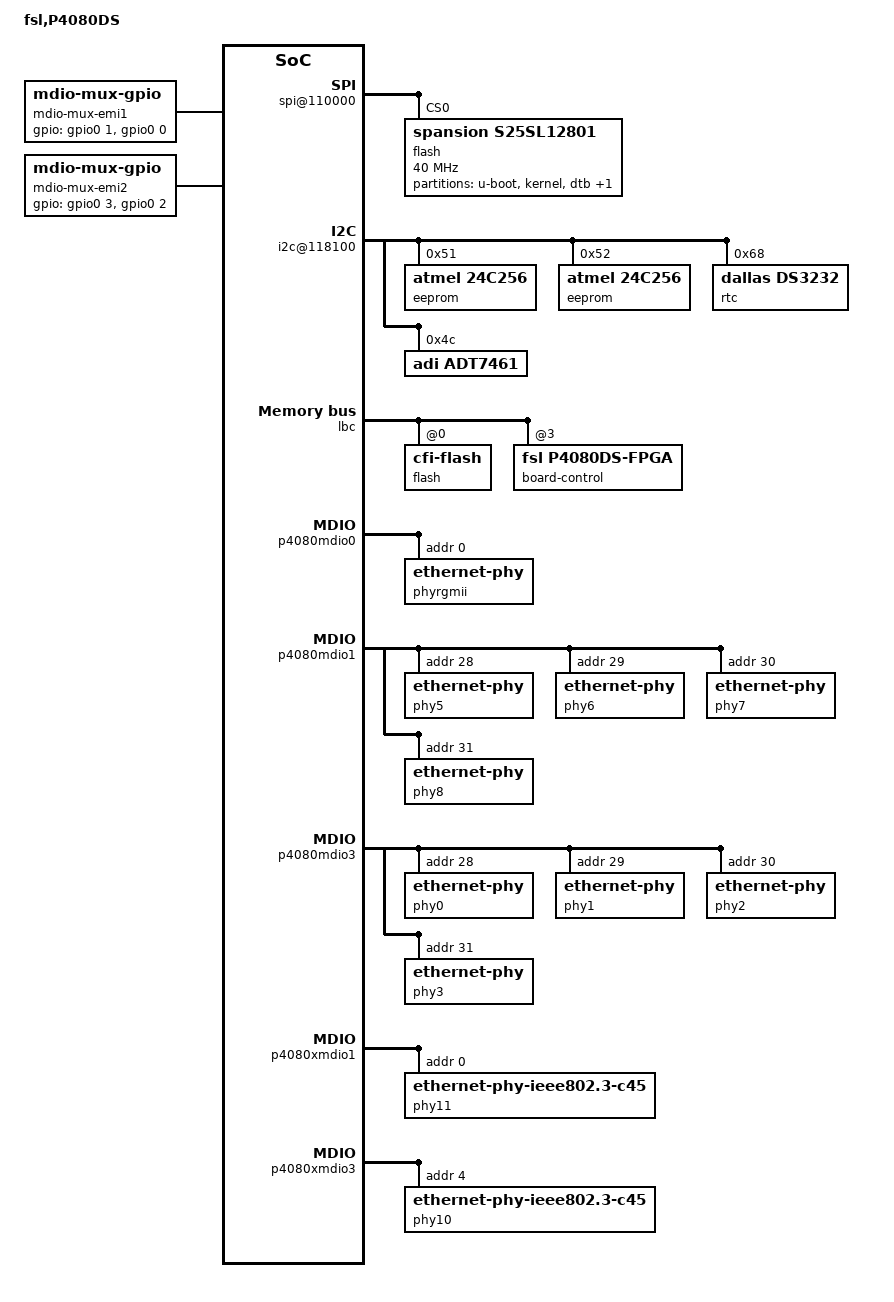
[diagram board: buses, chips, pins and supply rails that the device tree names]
/*
 * P4080DS Device Tree Source
 *
 * Copyright 2009 - 2015 Freescale Semiconductor Inc.
 *
 * Redistribution and use in source and binary forms, with or without
 * modification, are permitted provided that the following conditions are met:
 *     * Redistributions of source code must retain the above copyright
 *       notice, this list of conditions and the following disclaimer.
 *     * Redistributions in binary form must reproduce the above copyright
 *       notice, this list of conditions and the following disclaimer in the
 *       documentation and/or other materials provided with the distribution.
 *     * Neither the name of Freescale Semiconductor nor the
 *       names of its contributors may be used to endorse or promote products
 *       derived from this software without specific prior written permission.
 *
 *
 * ALTERNATIVELY, this software may be distributed under the terms of the
 * GNU General Public License ("GPL") as published by the Free Software
 * Foundation, either version 2 of that License or (at your option) any
 * later version.
 *
 * THIS SOFTWARE IS PROVIDED BY Freescale Semiconductor ``AS IS'' AND ANY
 * EXPRESS OR IMPLIED WARRANTIES, INCLUDING, BUT NOT LIMITED TO, THE IMPLIED
 * WARRANTIES OF MERCHANTABILITY AND FITNESS FOR A PARTICULAR PURPOSE ARE
 * DISCLAIMED. IN NO EVENT SHALL Freescale Semiconductor BE LIABLE FOR ANY
 * DIRECT, INDIRECT, INCIDENTAL, SPECIAL, EXEMPLARY, OR CONSEQUENTIAL DAMAGES
 * (INCLUDING, BUT NOT LIMITED TO, PROCUREMENT OF SUBSTITUTE GOODS OR SERVICES;
 * LOSS OF USE, DATA, OR PROFITS; OR BUSINESS INTERRUPTION) HOWEVER CAUSED AND
 * ON ANY THEORY OF LIABILITY, WHETHER IN CONTRACT, STRICT LIABILITY, OR TORT
 * (INCLUDING NEGLIGENCE OR OTHERWISE) ARISING IN ANY WAY OUT OF THE USE OF THIS
 * SOFTWARE, EVEN IF ADVISED OF THE POSSIBILITY OF SUCH DAMAGE.
 */

/include/ "p4080si-pre.dtsi"

/ {
	model = "fsl,P4080DS";
	compatible = "fsl,P4080DS";
	#address-cells = <2>;
	#size-cells = <2>;
	interrupt-parent = <&mpic>;

	aliases {
		phy_rgmii = &phyrgmii;
		phy5_slot3 = &phy5slot3;
		phy6_slot3 = &phy6slot3;
		phy7_slot3 = &phy7slot3;
		phy8_slot3 = &phy8slot3;
		emi1_slot3 = &p4080mdio2;
		emi1_slot4 = &p4080mdio1;
		emi1_slot5 = &p4080mdio3;
		emi1_rgmii = &p4080mdio0;
		emi2_slot4 = &p4080xmdio1;
		emi2_slot5 = &p4080xmdio3;
	};

	memory {
		device_type = "memory";
	};

	reserved-memory {
		#address-cells = <2>;
		#size-cells = <2>;
		ranges;

		bman_fbpr: bman-fbpr {
			size = <0 0x1000000>;
			alignment = <0 0x1000000>;
		};
		qman_fqd: qman-fqd {
			size = <0 0x400000>;
			alignment = <0 0x400000>;
		};
		qman_pfdr: qman-pfdr {
			size = <0 0x2000000>;
			alignment = <0 0x2000000>;
		};
	};

	dcsr: dcsr@f00000000 {
		ranges = <0x00000000 0xf 0x00000000 0x01008000>;
	};

	bportals: bman-portals@ff4000000 {
		ranges = <0x0 0xf 0xf4000000 0x200000>;
	};

	qportals: qman-portals@ff4200000 {
		ranges = <0x0 0xf 0xf4200000 0x200000>;
	};

	soc: soc@ffe000000 {
		ranges = <0x00000000 0xf 0xfe000000 0x1000000>;
		reg = <0xf 0xfe000000 0 0x00001000>;

		spi@110000 {
			flash@0 {
				#address-cells = <1>;
				#size-cells = <1>;
				compatible = "spansion,s25sl12801", "jedec,spi-nor";
				reg = <0>;
				spi-max-frequency = <40000000>; /* input clock */
				partition@u-boot {
					label = "u-boot";
					reg = <0x00000000 0x00100000>;
					read-only;
				};
				partition@kernel {
					label = "kernel";
					reg = <0x00100000 0x00500000>;
					read-only;
				};
				partition@dtb {
					label = "dtb";
					reg = <0x00600000 0x00100000>;
					read-only;
				};
				partition@fs {
					label = "file system";
					reg = <0x00700000 0x00900000>;
				};
			};
		};

		i2c@118100 {
			eeprom@51 {
				compatible = "atmel,24c256";
				reg = <0x51>;
			};
			eeprom@52 {
				compatible = "atmel,24c256";
				reg = <0x52>;
			};
			rtc@68 {
				compatible = "dallas,ds3232";
				reg = <0x68>;
				interrupts = <0x1 0x1 0 0>;
			};
			adt7461@4c {
				compatible = "adi,adt7461";
				reg = <0x4c>;
			};
		};

		usb0: usb@210000 {
			phy_type = "ulpi";
		};

		usb1: usb@211000 {
			dr_mode = "host";
			phy_type = "ulpi";
		};

		fman@400000 {
			ethernet@e0000 {
				phy-handle = <&phy0>;
				phy-connection-type = "sgmii";
			};

			ethernet@e2000 {
				phy-handle = <&phy1>;
				phy-connection-type = "sgmii";
			};

			ethernet@e4000 {
				phy-handle = <&phy2>;
				phy-connection-type = "sgmii";
			};

			ethernet@e6000 {
				phy-handle = <&phy3>;
				phy-connection-type = "sgmii";
			};

			ethernet@f0000 {
				phy-handle = <&phy10>;
				phy-connection-type = "xgmii";
			};
		};

		fman@500000 {
			ethernet@e0000 {
				phy-handle = <&phy5>;
				phy-connection-type = "sgmii";
			};

			ethernet@e2000 {
				phy-handle = <&phy6>;
				phy-connection-type = "sgmii";
			};

			ethernet@e4000 {
				phy-handle = <&phy7>;
				phy-connection-type = "sgmii";
			};

			ethernet@e6000 {
				phy-handle = <&phy8>;
				phy-connection-type = "sgmii";
			};

			ethernet@f0000 {
				phy-handle = <&phy11>;
				phy-connection-type = "xgmii";
			};
		};
	};

	rio: rapidio@ffe0c0000 {
		reg = <0xf 0xfe0c0000 0 0x11000>;

		port1 {
			ranges = <0 0 0xc 0x20000000 0 0x10000000>;
		};
		port2 {
			ranges = <0 0 0xc 0x30000000 0 0x10000000>;
		};
	};

	lbc: localbus@ffe124000 {
		reg = <0xf 0xfe124000 0 0x1000>;
		ranges = <0 0 0xf 0xe8000000 0x08000000
			  3 0 0xf 0xffdf0000 0x00008000>;

		flash@0,0 {
			compatible = "cfi-flash";
			reg = <0 0 0x08000000>;
			bank-width = <2>;
			device-width = <2>;
		};

		board-control@3,0 {
			compatible = "fsl,p4080ds-fpga", "fsl,fpga-ngpixis";
			reg = <3 0 0x30>;
		};
	};

	pci0: pcie@ffe200000 {
		reg = <0xf 0xfe200000 0 0x1000>;
		ranges = <0x02000000 0 0xe0000000 0xc 0x00000000 0x0 0x20000000
			  0x01000000 0 0x00000000 0xf 0xf8000000 0x0 0x00010000>;
		pcie@0 {
			ranges = <0x02000000 0 0xe0000000
				  0x02000000 0 0xe0000000
				  0 0x20000000

				  0x01000000 0 0x00000000
				  0x01000000 0 0x00000000
				  0 0x00010000>;
		};
	};

	pci1: pcie@ffe201000 {
		reg = <0xf 0xfe201000 0 0x1000>;
		ranges = <0x02000000 0x0 0xe0000000 0xc 0x20000000 0x0 0x20000000
			  0x01000000 0x0 0x00000000 0xf 0xf8010000 0x0 0x00010000>;
		pcie@0 {
			ranges = <0x02000000 0 0xe0000000
				  0x02000000 0 0xe0000000
				  0 0x20000000

				  0x01000000 0 0x00000000
				  0x01000000 0 0x00000000
				  0 0x00010000>;
		};
	};

	pci2: pcie@ffe202000 {
		reg = <0xf 0xfe202000 0 0x1000>;
		ranges = <0x02000000 0 0xe0000000 0xc 0x40000000 0 0x20000000
			  0x01000000 0 0x00000000 0xf 0xf8020000 0 0x00010000>;
		pcie@0 {
			ranges = <0x02000000 0 0xe0000000
				  0x02000000 0 0xe0000000
				  0 0x20000000

				  0x01000000 0 0x00000000
				  0x01000000 0 0x00000000
				  0 0x00010000>;
		};
	};

	mdio-mux-emi1 {
		#address-cells = <1>;
		#size-cells = <0>;
		compatible = "mdio-mux-gpio", "mdio-mux";
		mdio-parent-bus = <&mdio0>;
		gpios = <&gpio0 1 0>, <&gpio0 0 0>;

		p4080mdio0: mdio@0 {
			#address-cells = <1>;
			#size-cells = <0>;
			reg = <0>;

			phyrgmii: ethernet-phy@0 {
				reg = <0x0>;
			};
		};

		p4080mdio1: mdio@1 {
			#address-cells = <1>;
			#size-cells = <0>;
			reg = <1>;

			phy5: ethernet-phy@1c {
				reg = <0x1c>;
			};

			phy6: ethernet-phy@1d {
				reg = <0x1d>;
			};

			phy7: ethernet-phy@1e {
				reg = <0x1e>;
			};

			phy8: ethernet-phy@1f {
				reg = <0x1f>;
			};
		};

		p4080mdio2: mdio@2 {
			#address-cells = <1>;
			#size-cells = <0>;
			reg = <2>;
			status = "disabled";

			phy5slot3: ethernet-phy@1c {
				reg = <0x1c>;
			};

			phy6slot3: ethernet-phy@1d {
				reg = <0x1d>;
			};

			phy7slot3: ethernet-phy@1e {
				reg = <0x1e>;
			};

			phy8slot3: ethernet-phy@1f {
				reg = <0x1f>;
			};
		};

		p4080mdio3: mdio@3 {
			#address-cells = <1>;
			#size-cells = <0>;
			reg = <3>;

			phy0: ethernet-phy@1c {
				reg = <0x1c>;
			};

			phy1: ethernet-phy@1d {
				reg = <0x1d>;
			};

			phy2: ethernet-phy@1e {
				reg = <0x1e>;
			};

			phy3: ethernet-phy@1f {
				reg = <0x1f>;
			};
		};
	};

	mdio-mux-emi2 {
		#address-cells = <1>;
		#size-cells = <0>;
		compatible = "mdio-mux-gpio", "mdio-mux";
		mdio-parent-bus = <&xmdio0>;
		gpios = <&gpio0 3 0>, <&gpio0 2 0>;

		p4080xmdio1: mdio@1 {
			#address-cells = <1>;
			#size-cells = <0>;
			reg = <1>;

			phy11: ethernet-phy@0 {
				compatible = "ethernet-phy-ieee802.3-c45";
				reg = <0x0>;
			};
		};

		p4080xmdio3: mdio@3 {
			#address-cells = <1>;
			#size-cells = <0>;
			reg = <3>;

			phy10: ethernet-phy@4 {
				compatible = "ethernet-phy-ieee802.3-c45";
				reg = <0x4>;
			};
		};
	};
};

/include/ "p4080si-post.dtsi"
